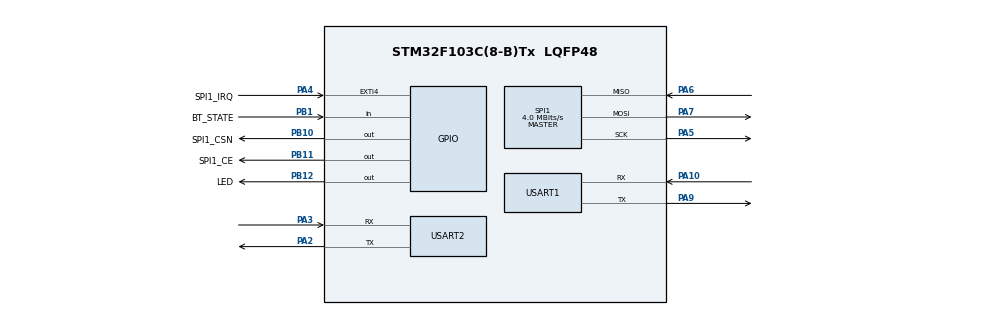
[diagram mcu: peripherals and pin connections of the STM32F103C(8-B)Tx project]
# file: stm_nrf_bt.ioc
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Mcu.Family=STM32F1
Mcu.Name=STM32F103C(8-B)Tx
Mcu.Package=LQFP48
NVIC.PriorityGroup=NVIC_PRIORITYGROUP_4
NVIC.SPI1_IRQn=true\:0\:0\:false\:false\:true\:true\:true
NVIC.USART1_IRQn=true\:0\:0\:false\:false\:true\:true\:true
NVIC.USART2_IRQn=true\:0\:0\:false\:false\:true\:true\:true
PA10.Mode=Asynchronous
PA10.Signal=USART1_RX
PA13.Mode=Serial_Wire
PA13.Signal=SYS_JTMS-SWDIO
PA14.Mode=Serial_Wire
PA14.Signal=SYS_JTCK-SWCLK
PA2.Mode=Asynchronous
PA2.Signal=USART2_TX
PA3.Mode=Asynchronous
PA3.Signal=USART2_RX
PA4.GPIO_Label=SPI1_IRQ
PA4.GPIO_PuPd=GPIO_PULLUP
PA4.Signal=GPXTI4
PA5.Mode=Full_Duplex_Master
PA5.Signal=SPI1_SCK
PA6.Mode=Full_Duplex_Master
PA6.Signal=SPI1_MISO
PA7.Mode=Full_Duplex_Master
PA7.Signal=SPI1_MOSI
PA9.Mode=Asynchronous
PA9.Signal=USART1_TX
PB1.GPIO_Label=BT_STATE
PB1.Signal=GPIO_Input
PB10.GPIO_Label=SPI1_CSN
PB10.Signal=GPIO_Output
PB11.GPIO_Label=SPI1_CE
PB11.Signal=GPIO_Output
PB12.GPIO_Label=LED
PB12.Signal=GPIO_Output
ProjectManager.HeapSize=0x200
ProjectManager.StackSize=0x400
ProjectManager.TargetToolchain=STM32CubeIDE
RCC.APB1Freq_Value=8000000
RCC.APB2Freq_Value=8000000
SPI1.CalculateBaudRate=4.0 MBits/s
SPI1.Direction=SPI_DIRECTION_2LINES
SPI1.Mode=SPI_MODE_MASTER
SPI1.VirtualType=VM_MASTER
USART1.VirtualMode=VM_ASYNC
USART2.VirtualMode=VM_ASYNC
board=custom

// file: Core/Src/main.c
/* USER CODE BEGIN Header */
/**
  ******************************************************************************
  * @file           : main.c
  * @brief          : Main program body
  ******************************************************************************
  * @attention
  *
  * <h2><center>&copy; Copyright (c) 2020 STMicroelectronics.
  * All rights reserved.</center></h2>
  *
  * This software component is licensed by ST under BSD 3-Clause license,
  * the "License"; You may not use this file except in compliance with the
  * License. You may obtain a copy of the License at:
  *                        opensource.org/licenses/BSD-3-Clause
  *
  ******************************************************************************
  */
/* USER CODE END Header */

#include "main.h"

SPI_HandleTypeDef hspi1;

UART_HandleTypeDef huart1;
UART_HandleTypeDef huart2;

void SystemClock_Config(void);
static void MX_GPIO_Init(void);
static void MX_SPI1_Init(void);
static void MX_USART1_UART_Init(void);
static void MX_USART2_UART_Init(void);

/* USER CODE BEGIN 0 */

// Bluetooth
#define BT_CONNECTED 1
#define BT_FREE 0
int bt_status() {
	if (HAL_GPIO_ReadPin(BT_STATE_GPIO_Port, BT_STATE_Pin) == GPIO_PIN_SET) {
		return BT_CONNECTED;
	}
	else return BT_FREE;
}

// BLINK LED on Board
void blink_led_fast() {
	for (int i = 1; i <= 10; i++) {
		HAL_GPIO_TogglePin(LED_GPIO_Port, LED_Pin);
		HAL_Delay(50);
	}
	HAL_GPIO_WritePin(LED_GPIO_Port, LED_Pin, GPIO_PIN_SET);
}
void blink_led_once() {
	HAL_GPIO_WritePin(LED_GPIO_Port, LED_Pin, GPIO_PIN_RESET);
	HAL_Delay(500);
	HAL_GPIO_WritePin(LED_GPIO_Port, LED_Pin, GPIO_PIN_SET);
	HAL_Delay(500);
	// HAL_GPIO_TogglePin(LED_GPIO_Port, LED_Pin);
}

// nRF
unsigned char nrf_msg[] = "NRF Hello - STM32.\r\n";
// BT
unsigned char bt_msg[] = "BT Transmit - STM32\r\n";

unsigned int BT_test() {
	int bt_sta = bt_status();
	if (bt_sta == BT_CONNECTED) {
	  uart_fputs(&huart2, (const char *)bt_msg);
	  uart_fputs(&huart1, "BT Message Sent Successful!\r\n");
	  return 1;
	}
	else {
	  uart_fputs(&huart1, "BT Device Not Connected\r\n");
	  return 0;
	}
}

unsigned int NRF_test() {
	unsigned int nrf_send_flg = NRF24L01_TxPacket(nrf_msg);

	if (nrf_send_flg == TX_OK) {
		uart_fputs(&huart1, "NRF24L01 Message Sent Successful!\r\n");
		return 1;
	}
	else if (nrf_send_flg == MAX_TX){
		uart_fputs(&huart1, "NRF24L01 hasn\'t detected the receiver.\r\n");
		return 0;
	}
	else {
		uart_fputs(&huart1, "NRF24L01 occurred some error.\r\n");
		return 0;
	}
}

/* USER CODE END 0 */

int main(void)
{

  /* MCU Configuration--------------------------------------------------------*/

  /* Reset of all peripherals, Initializes the Flash interface and the Systick. */
  HAL_Init();

  /* Configure the system clock */
  SystemClock_Config();

  /* Initialize all configured peripherals */
  MX_GPIO_Init();
  MX_SPI1_Init();
  MX_USART1_UART_Init();
  MX_USART2_UART_Init();
  /* USER CODE BEGIN 2 */
  uart_fputs(&huart1, "\r\n--------\r\nSystem Start!\r\n");
  NRF24L01_Init();
  while (NRF24L01_Check()) {
	uart_fputs(&huart1, "NRF24L01 Module not detected\r\n");
	return 0;
  }

  NRF24L01_TX_Mode(); // 发送模式

  /* USER CODE END 2 */

  /* Infinite loop */
  while (1)
  {

    /* USER CODE BEGIN 3 */
	  uart_fputs(&huart1, "[Test]\r\n");
	  if (BT_test())
		  blink_led_fast();
	  else
		  blink_led_once();
	  HAL_Delay(500);
	  if (NRF_test())
		  blink_led_fast();
	  else
		  blink_led_once();
	  uart_fputs(&huart1, "\r\n");
	  HAL_Delay(2000);
  }
  /* USER CODE END 3 */
}

void SystemClock_Config(void)
{
  RCC_OscInitTypeDef RCC_OscInitStruct = {0};
  RCC_ClkInitTypeDef RCC_ClkInitStruct = {0};

  /** Initializes the CPU, AHB and APB busses clocks
  */
  RCC_OscInitStruct.OscillatorType = RCC_OSCILLATORTYPE_HSI;
  RCC_OscInitStruct.HSIState = RCC_HSI_ON;
  RCC_OscInitStruct.HSICalibrationValue = RCC_HSICALIBRATION_DEFAULT;
  RCC_OscInitStruct.PLL.PLLState = RCC_PLL_NONE;
  if (HAL_RCC_OscConfig(&RCC_OscInitStruct) != HAL_OK)
  {
    Error_Handler();
  }
  /** Initializes the CPU, AHB and APB busses clocks
  */
  RCC_ClkInitStruct.ClockType = RCC_CLOCKTYPE_HCLK|RCC_CLOCKTYPE_SYSCLK
                              |RCC_CLOCKTYPE_PCLK1|RCC_CLOCKTYPE_PCLK2;
  RCC_ClkInitStruct.SYSCLKSource = RCC_SYSCLKSOURCE_HSI;
  RCC_ClkInitStruct.AHBCLKDivider = RCC_SYSCLK_DIV1;
  RCC_ClkInitStruct.APB1CLKDivider = RCC_HCLK_DIV1;
  RCC_ClkInitStruct.APB2CLKDivider = RCC_HCLK_DIV1;

  if (HAL_RCC_ClockConfig(&RCC_ClkInitStruct, FLASH_LATENCY_0) != HAL_OK)
  {
    Error_Handler();
  }
}

static void MX_SPI1_Init(void)
{

  /* SPI1 parameter configuration*/
  hspi1.Instance = SPI1;
  hspi1.Init.Mode = SPI_MODE_MASTER;
  hspi1.Init.Direction = SPI_DIRECTION_2LINES;
  hspi1.Init.DataSize = SPI_DATASIZE_8BIT;
  hspi1.Init.CLKPolarity = SPI_POLARITY_LOW;
  hspi1.Init.CLKPhase = SPI_PHASE_1EDGE;
  hspi1.Init.NSS = SPI_NSS_SOFT;
  hspi1.Init.BaudRatePrescaler = SPI_BAUDRATEPRESCALER_2;
  hspi1.Init.FirstBit = SPI_FIRSTBIT_MSB;
  hspi1.Init.TIMode = SPI_TIMODE_DISABLE;
  hspi1.Init.CRCCalculation = SPI_CRCCALCULATION_DISABLE;
  hspi1.Init.CRCPolynomial = 10;
  if (HAL_SPI_Init(&hspi1) != HAL_OK)
  {
    Error_Handler();
  }

}

static void MX_USART1_UART_Init(void)
{

  huart1.Instance = USART1;
  huart1.Init.BaudRate = 115200;
  huart1.Init.WordLength = UART_WORDLENGTH_8B;
  huart1.Init.StopBits = UART_STOPBITS_1;
  huart1.Init.Parity = UART_PARITY_NONE;
  huart1.Init.Mode = UART_MODE_TX_RX;
  huart1.Init.HwFlowCtl = UART_HWCONTROL_NONE;
  huart1.Init.OverSampling = UART_OVERSAMPLING_16;
  if (HAL_UART_Init(&huart1) != HAL_OK)
  {
    Error_Handler();
  }

}

static void MX_USART2_UART_Init(void)
{

  huart2.Instance = USART2;
  huart2.Init.BaudRate = 115200;
  huart2.Init.WordLength = UART_WORDLENGTH_8B;
  huart2.Init.StopBits = UART_STOPBITS_1;
  huart2.Init.Parity = UART_PARITY_NONE;
  huart2.Init.Mode = UART_MODE_TX_RX;
  huart2.Init.HwFlowCtl = UART_HWCONTROL_NONE;
  huart2.Init.OverSampling = UART_OVERSAMPLING_16;
  if (HAL_UART_Init(&huart2) != HAL_OK)
  {
    Error_Handler();
  }

}

static void MX_GPIO_Init(void)
{
  GPIO_InitTypeDef GPIO_InitStruct = {0};

  /* GPIO Ports Clock Enable */
  __HAL_RCC_GPIOA_CLK_ENABLE();
  __HAL_RCC_GPIOB_CLK_ENABLE();

  /*Configure GPIO pin Output Level */
  HAL_GPIO_WritePin(GPIOB, SPI1_CSN_Pin|SPI1_CE_Pin|LED_Pin, GPIO_PIN_RESET);

  /*Configure GPIO pin : SPI1_IRQ_Pin */
  GPIO_InitStruct.Pin = SPI1_IRQ_Pin;
  GPIO_InitStruct.Mode = GPIO_MODE_IT_RISING;
  GPIO_InitStruct.Pull = GPIO_PULLUP;
  HAL_GPIO_Init(SPI1_IRQ_GPIO_Port, &GPIO_InitStruct);

  /*Configure GPIO pin : BT_STATE_Pin */
  GPIO_InitStruct.Pin = BT_STATE_Pin;
  GPIO_InitStruct.Mode = GPIO_MODE_INPUT;
  GPIO_InitStruct.Pull = GPIO_NOPULL;
  HAL_GPIO_Init(BT_STATE_GPIO_Port, &GPIO_InitStruct);

  /*Configure GPIO pins : SPI1_CSN_Pin SPI1_CE_Pin LED_Pin */
  GPIO_InitStruct.Pin = SPI1_CSN_Pin|SPI1_CE_Pin|LED_Pin;
  GPIO_InitStruct.Mode = GPIO_MODE_OUTPUT_PP;
  GPIO_InitStruct.Pull = GPIO_NOPULL;
  GPIO_InitStruct.Speed = GPIO_SPEED_FREQ_LOW;
  HAL_GPIO_Init(GPIOB, &GPIO_InitStruct);

}

void Error_Handler(void)
{
}

/************************ (C) COPYRIGHT STMicroelectronics *****END OF FILE****/
